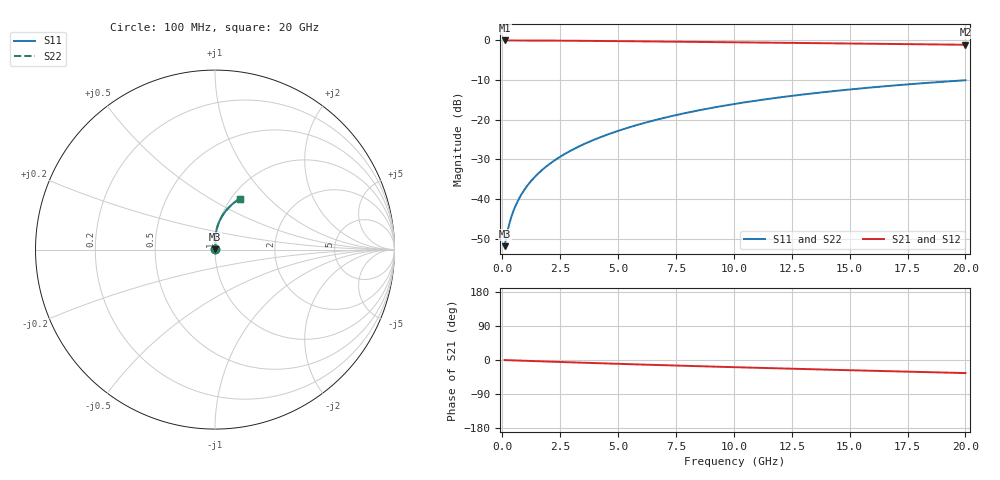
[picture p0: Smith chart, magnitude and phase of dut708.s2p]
! Touchstone file exported from HFSS 2024.1.0
!  File:  C:/UserFiles/LocalFiles/RDL_TSV_Batchsim/temp_RDL_bottom_708_1779857885.aedt
!  Generated:  01:00:50 PM May 27, 2026
!  Design:  RDL_bottom
!  Project:  temp_RDL_bottom_708_1779857885
!  Setup:  Setup1
!  Solution:  Sweep
! Variables:
!  dtsv = 10.80580581um
!  hbump = 3um
!  htsv = 73.52um
!  ldown = 473.88um
!  lrdl = 100um
!  p = 40
!  p1 = 55.51um
!  rhole = 1um
!  t = 450um
!  tdown = 3.49um
!  trdl = 3.915915916um
!  wdown = 26.43um
!  wrdl = 20um
# GHz S MA R 50.000000
! Terminal data exported
! Port[1] = RDL1_T1
! Port[2] = RDL1_T2
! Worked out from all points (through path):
!   200 points, 100 MHz to 20 GHz, reference 50 ohm
!   highest |S21| = -0.02 dB at 100 MHz (marker M1); lowest = -1.1 dB at 20 GHz (marker M2)
!   group delay of S21, straight-line fit = 4.74 ps
!   lowest |S11| = -51.9 dB at 100 MHz (marker M3), VSWR 1.01, Z = 50.2 + j0.151 ohm
!   |S11| at or under -10 dB: start of sweep to end of sweep
!   |S22| runs from -51.9 to -10.0 dB; largest |S21 - S12| = 3.7e-15
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0.1  0.002551 36.2  0.9979 -0.2  0.9979 -0.2  0.002551 36.2
! Gamma 0 0 0 0
! Port Impedance 50 0 50 0
0.2  0.003653 53.4  0.9978 -0.4  0.9978 -0.4  0.003653 53.4
0.3  0.004859 61.9  0.9976 -0.7  0.9976 -0.7  0.004859 61.9
0.4  0.006083 67.1  0.9974 -0.9  0.9974 -0.9  0.006083 67.1
0.5  0.007319 70.8  0.9973 -1.1  0.9973 -1.1  0.007319 70.8
0.6  0.008569 73.5  0.9971 -1.3  0.9971 -1.3  0.008569 73.5
0.8  0.01111 77.3  0.9968 -1.7  0.9968 -1.7  0.01111 77.3
1.1  0.01501 80.8  0.9963 -2.3  0.9963 -2.3  0.01501 80.8
1.3  0.01765 82.4  0.9959 -2.7  0.9959 -2.7  0.01765 82.4
1.6  0.02168 84.1  0.9951 -3.4  0.9951 -3.4  0.02168 84.1
2.1  0.02856 85.9  0.9935 -4.4  0.9935 -4.4  0.02856 85.9
2.7  0.03707 87.2  0.9912 -5.6  0.9912 -5.6  0.03707 87.2
3.5  0.04888 88.0  0.9875 -7.2  0.9875 -7.2  0.04889 88.0
4.2  0.05964 88.2  0.9838 -8.6  0.9838 -8.6  0.05965 88.2
5  0.07239 88.0  0.9791 -10.1  0.9791 -10.1  0.0724 88.0
6.8  0.1024 86.3  0.9676 -13.4  0.9676 -13.4  0.1024 86.3
8.4  0.1299 84.0  0.957 -16.2  0.957 -16.2  0.1299 84.1
10.1  0.1592 81.2  0.9458 -19.1  0.9458 -19.1  0.1593 81.3
11.7  0.1865 78.4  0.9352 -21.7  0.9352 -21.7  0.1866 78.4
13.4  0.2148 75.4  0.9241 -24.5  0.9241 -24.5  0.2149 75.4
16.7  0.2669 69.6  0.9025 -29.6  0.9025 -29.6  0.267 69.6
20  0.3146 64.1  0.8809 -34.5  0.8809 -34.5  0.3147 64.1
